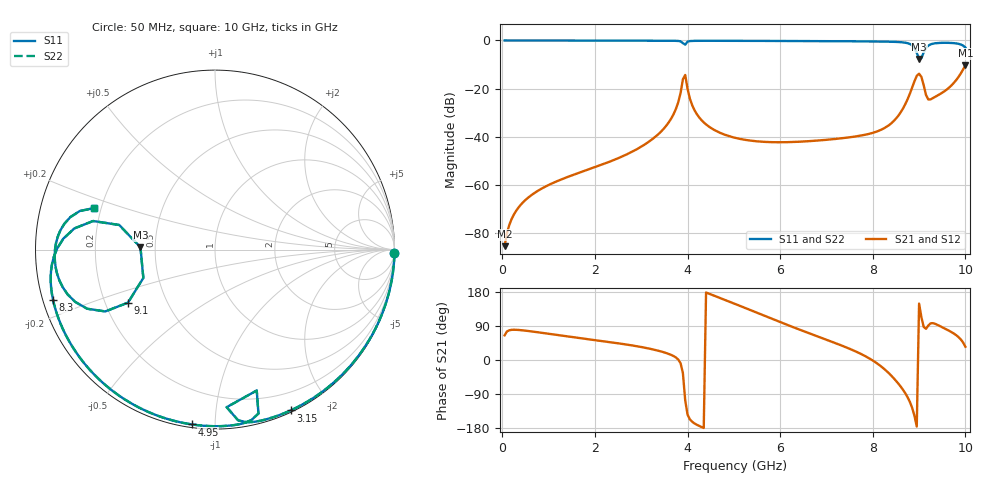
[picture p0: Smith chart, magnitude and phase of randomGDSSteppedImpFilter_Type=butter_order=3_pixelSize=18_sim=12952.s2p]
! freq	dB(S11)	phase(S11)	dB(S12)	phase(S12)
!  dB(S21)	phase(S21)	dB(S22)	phase(S22)
!S-par simulation data
#  GHz  S  DB  R 50
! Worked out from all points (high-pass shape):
!   200 points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, 50 MHz to 10 GHz, reference 50 ohm
!   highest |S21| = -10.31 dB at 10 GHz (marker M1); lowest = -85.4 dB at 50 MHz (marker M2)
!   |S21| within 3 dB of the highest: 9.912 GHz to end of sweep
!   lowest |S11| = -7.6 dB at 9 GHz (marker M3), VSWR 2.42, Z = 20.7 + j0.648 ohm
!   |S11| at or under -10 dB: nowhere
!   |S22| runs from -7.6 to 0.0 dB; largest |S21 - S12| = 0
!   S11 on the Smith chart (normalised r, x): 50 MHz: open; 3.15 GHz: 0.02, -1.58; 4.95 GHz: 0.02, -0.88; 8.3 GHz: 0.03, -0.15; 9.1 GHz: 0.30, -0.26; 10 GHz: 0.17, +0.16
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0.05  -0.00 -1.1  -85.39 65.0  -85.39 65.0  -0.00 -1.1
0.6  -0.01 -12.7  -64.61 75.9  -64.61 75.9  -0.01 -12.7
1.75  -0.05 -36.6  -54.29 56.4  -54.29 56.4  -0.05 -36.6
3.15  -0.09 -64.8  -42.23 30.6  -42.23 30.6  -0.09 -64.8
3.4  -0.10 -69.9  -38.36 23.5  -38.36 23.5  -0.10 -69.9
3.75  -0.16 -78.0  -28.38 6.5  -28.38 6.5  -0.16 -78.0
3.9  -1.11 -85.8  -16.13 -34.5  -16.13 -34.5  -1.10 -85.8
3.95  -1.74 -73.5  -14.32 -106.6  -14.32 -106.6  -1.74 -73.5
4.05  -0.26 -77.9  -24.08 -156.4  -24.08 -156.4  -0.26 -77.9
4.25  -0.14 -83.7  -31.90 -174.0  -31.90 -174.0  -0.14 -83.7
4.95  -0.15 -97.5  -40.01 151.7  -40.01 151.7  -0.15 -97.5
5.05  -0.16 -99.4  -40.51 146.8  -40.51 146.8  -0.16 -99.4
6.7  -0.26 -129.5  -41.70 67.2  -41.70 67.2  -0.26 -129.5
8.3  -0.49 -162.6  -35.79 -29.4  -35.79 -29.4  -0.49 -162.6
8.35  -0.51 -164.0  -35.17 -35.1  -35.17 -35.1  -0.51 -164.0
8.8  -1.44 175.9  -22.16 -110.3  -22.16 -110.3  -1.44 175.9
8.9  -3.13 166.8  -16.94 -147.1  -16.94 -147.1  -3.12 166.8
9  -7.63 178.2  -13.81 148.8  -13.81 148.8  -7.62 178.1
9.1  -4.91 -148.6  -18.61 87.3  -18.61 87.3  -4.93 -148.6
9.25  -1.61 -159.5  -24.45 96.8  -24.45 96.8  -1.61 -159.4
9.7  -1.04 177.7  -18.63 73.6  -18.63 73.6  -1.04 177.8
10  -2.94 161.0  -10.31 35.0  -10.31 35.0  -2.93 161.1
